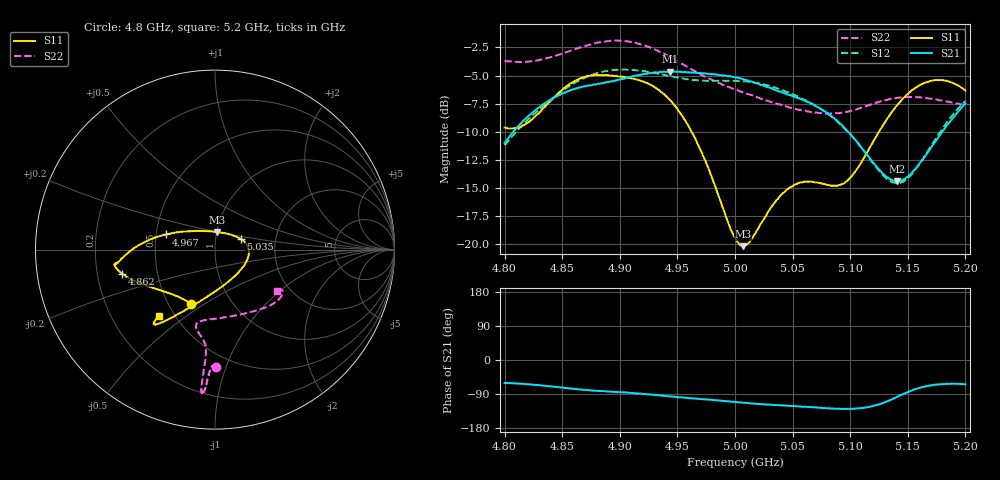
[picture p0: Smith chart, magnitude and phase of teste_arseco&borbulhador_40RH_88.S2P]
! Network Analyzer HP8722D
! Hewlett-Packard
! Data name: Linha & Wilkinson
! Saver's name: Rodrigo Anjos
! Comments: Teste da utilização de aquisição
! continua pelo VNA HP8722D
! Time and date: 15/4/2025 17:05
!  Frequency  S11  S21  S12  S22
# HZ  S  MA R 50
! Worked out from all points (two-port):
!   401 points, 4.8 GHz to 5.2 GHz, reference 50 ohm
!   highest |S21| = -4.65 dB at 4.944 GHz (marker M1); lowest = -14.4 dB at 5.141 GHz (marker M2)
!   |S21| within 3 dB of the highest: 4.832 GHz to 5.069 GHz (236.7 MHz wide, 4.78 % of centre); 5.198447 GHz to end of sweep
!   lowest |S11| = -20.2 dB at 5.007 GHz (marker M3), VSWR 1.22, Z = 50.1 + j9.88 ohm
!   |S11| at or under -10 dB: 4.962 GHz to 5.125 GHz (162.6 MHz wide, 3.22 % of centre)
!   |S22| runs from -8.4 to -1.9 dB; largest |S21 - S12| = 0.88
!   S11 on the Smith chart (normalised r, x): 4.8 GHz: 0.65, -0.44; 4.862 GHz: 0.31, -0.11; 4.967 GHz: 0.57, +0.10; 5.035 GHz: 1.32, +0.16; 5.2 GHz: 0.41, -0.40
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4.8e9  0.3305 -113.7  0.2818 -60.7  0.2755 -175.1  0.6545 -89.5
4.819e9  0.3449 -133.5  0.3646 -63.7  0.3519 -173.2  0.6483 -91.2
4.84e9  0.4345 -152.7  0.4393 -69.4  0.4391 -173.6  0.6783 -92.6
4.862e9  0.5363 -165.6  0.4932 -76.6  0.527 -176.3  0.7399 -93.5
4.867e9  0.5497 -167.5  0.501 -78.2  0.5423 -177.4  0.7533 -93.7
4.9e9  0.5575 -172.0  0.54 -84.7  0.5962 176.0  0.8035 -95.1
4.934e9  0.4847 -177.9  0.58 -93.2  0.5727 172.0  0.7193 -95.6
4.944e9  0.4354 177.6  0.5857 -96.2  0.5582 172.0  0.678 -95.3
4.967e9  0.284 162.6  0.5773 -102.1  0.5357 174.0  0.581 -94.9
5e9  0.1075 107.2  0.5527 -110.9  0.5338 176.5  0.4876 -99.2
5.007e9  0.09822 83.7  0.5412 -112.7  0.529 176.4  0.4735 -100.9
5.014e9  0.1047 61.4  0.5301 -114.4  0.5257 176.3  0.4606 -102.5
5.035e9  0.1548 23.0  0.4848 -118.8  0.4959 175.1  0.4239 -103.8
5.05e9  0.1816 7.3  0.4549 -121.4  0.4641 174.4  0.404 -100.4
5.067e9  0.1897 -11.2  0.4214 -124.7  0.4223 174.0  0.3875 -91.9
5.087e9  0.182 -43.7  0.3597 -128.7  0.3583 173.8  0.3826 -76.9
5.097e9  0.1907 -64.8  0.3213 -129.1  0.3195 174.5  0.3884 -68.6
5.134e9  0.3729 -116.0  0.1957 -106.9  0.192 -159.7  0.4419 -43.3
5.141e9  0.4165 -120.0  0.1905 -97.0  0.1875 -148.7  0.4478 -40.2
5.153e9  0.481 -124.9  0.2066 -81.1  0.2036 -130.1  0.4519 -35.9
5.171e9  0.5334 -128.7  0.2734 -66.5  0.2775 -112.3  0.4433 -31.8
5.2e9  0.4827 -130.2  0.4227 -64.1  0.434 -106.0  0.4152 -33.4
